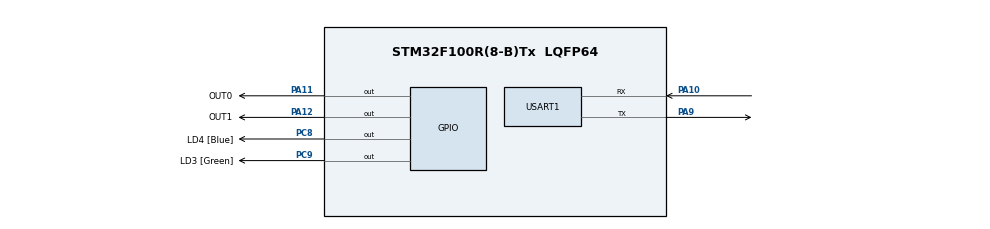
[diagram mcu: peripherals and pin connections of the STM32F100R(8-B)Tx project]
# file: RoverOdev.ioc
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Mcu.Family=STM32F1
Mcu.Name=STM32F100R(8-B)Tx
Mcu.Package=LQFP64
NVIC.PriorityGroup=NVIC_PRIORITYGROUP_4
PA0-WKUP.Mode=SYS_WakeUp0
PA0-WKUP.Signal=SYS_WKUP
PA10.Mode=Asynchronous
PA10.Signal=USART1_RX
PA11.GPIO_Label=OUT0
PA11.Signal=GPIO_Output
PA12.GPIO_Label=OUT1
PA12.Signal=GPIO_Output
PA13.GPIO_Label=TMS_SWDIO
PA13.Mode=Serial_Wire
PA13.Signal=SYS_JTMS-SWDIO
PA14.GPIO_Label=TCK_SWCLK
PA14.Mode=Serial_Wire
PA14.Signal=SYS_JTCK-SWCLK
PA9.Mode=Asynchronous
PA9.Signal=USART1_TX
PC14-OSC32_IN.Mode=LSE-External-Oscillator
PC14-OSC32_IN.Signal=RCC_OSC32_IN
PC15-OSC32_OUT.Mode=LSE-External-Oscillator
PC15-OSC32_OUT.Signal=RCC_OSC32_OUT
PC8.GPIO_Label=LD4 [Blue]
PC8.Signal=GPIO_Output
PC9.GPIO_Label=LD3 [Green]
PC9.Signal=GPIO_Output
PD0-OSC_IN.Mode=HSE-External-Oscillator
PD0-OSC_IN.Signal=RCC_OSC_IN
PD1-OSC_OUT.Mode=HSE-External-Oscillator
PD1-OSC_OUT.Signal=RCC_OSC_OUT
ProjectManager.HeapSize=0x200
ProjectManager.StackSize=0x400
ProjectManager.TargetToolchain=CMake
RCC.APB1Freq_Value=8000000
RCC.APB2Freq_Value=8000000
USART1.VirtualMode=VM_ASYNC
board=STM32VLDISCOVERY

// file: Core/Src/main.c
/* USER CODE BEGIN Header */
/**
  ******************************************************************************
  * @file           : main.c
  * @brief          : Main program body
  ******************************************************************************
  * @attention
  *
  * Copyright (c) 2025 STMicroelectronics.
  * All rights reserved.
  *
  * This software is licensed under terms that can be found in the LICENSE file
  * in the root directory of this software component.
  * If no LICENSE file comes with this software, it is provided AS-IS.
  *
  ******************************************************************************
  */
/* USER CODE END Header */
#include "main.h"

/* USER CODE BEGIN Includes */

#include <string.h>

/* USER CODE END Includes */

UART_HandleTypeDef huart1;

void SystemClock_Config(void);
static void MX_GPIO_Init(void);
static void MX_USART1_UART_Init(void);

int main(void)
{

  /* MCU Configuration--------------------------------------------------------*/

  /* Reset of all peripherals, Initializes the Flash interface and the Systick. */
  HAL_Init();

  /* Configure the system clock */
  SystemClock_Config();

  /* Initialize all configured peripherals */
  MX_GPIO_Init();
  MX_USART1_UART_Init();
  /* USER CODE BEGIN 2 */

  char message[] = "Emirlerinizi dinliyorum\n";
  HAL_UART_Transmit(&huart1, (uint8_t *)message, strlen(message), 10);

  /* USER CODE END 2 */

  /* Infinite loop */
  /* USER CODE BEGIN WHILE */
  char out0_reset[] = "out0 0\n";
  char out1_reset[] = "out1 0\n";
  char out0_set[] = "out0 1\n";
  char out1_set[] = "out1 1\n";
  char out0_toggle[] = "out0 2\n";
  char out1_toggle[] = "out1 2\n";

  while (1) {
    // İki karakter okuyalım
    uint8_t buffer[2];
    HAL_UART_Receive(&huart1, buffer, sizeof(buffer), HAL_MAX_DELAY);
    // Okuduğumuz karakterleri geri yazalım ki ekranda gözüksün.
    HAL_UART_Transmit(&huart1, buffer, sizeof(buffer), 10);

    // İlk karakteri okuyalım
    // Debug işlemlerini kolaylaştırmak için UART üzerinden yapılan işlemi
    // yazıyoruz.
    switch (buffer[0]) {
    case '0':
      HAL_UART_Transmit(&huart1, (uint8_t *) out0_reset, sizeof(out0_reset), 10);
      HAL_GPIO_WritePin(OUT0_GPIO_Port, OUT0_Pin, GPIO_PIN_RESET);
      break;
    case '1':
      HAL_UART_Transmit(&huart1, (uint8_t *) out0_set, sizeof(out0_set), 10);
      HAL_GPIO_WritePin(OUT0_GPIO_Port, OUT0_Pin, GPIO_PIN_SET);
      break;
    case '2':
      HAL_UART_Transmit(&huart1, (uint8_t *) out0_toggle, sizeof(out0_toggle), 10);
      HAL_GPIO_TogglePin(OUT0_GPIO_Port, OUT0_Pin);
      break;
    default:
      break;
    }

    // İkinci karakteri okuyalım
    switch (buffer[1]) {
    case '0':
      HAL_UART_Transmit(&huart1, (uint8_t *) out1_reset, sizeof(out1_reset), 10);
      HAL_GPIO_WritePin(OUT1_GPIO_Port, OUT1_Pin, GPIO_PIN_RESET);
      break;
    case '1':
      HAL_UART_Transmit(&huart1, (uint8_t *) out1_set, sizeof(out1_set), 10);
      HAL_GPIO_WritePin(OUT1_GPIO_Port, OUT1_Pin, GPIO_PIN_SET);
      break;
    case '2':
      HAL_UART_Transmit(&huart1, (uint8_t *) out1_toggle, sizeof(out1_toggle), 10);
      HAL_GPIO_TogglePin(OUT1_GPIO_Port, OUT1_Pin);
      break;
    default:
      break;
    }

    // Olur da HAL_UART_Receive 2 byte almazsa diye değerleri sıfırlayalım.
    buffer[0] = 0;
    buffer[1] = 0;

    /* USER CODE END WHILE */

  }
}

void SystemClock_Config(void)
{
  RCC_OscInitTypeDef RCC_OscInitStruct = {0};
  RCC_ClkInitTypeDef RCC_ClkInitStruct = {0};

  /** Initializes the RCC Oscillators according to the specified parameters
  * in the RCC_OscInitTypeDef structure.
  */
  RCC_OscInitStruct.OscillatorType = RCC_OSCILLATORTYPE_HSI;
  RCC_OscInitStruct.HSIState = RCC_HSI_ON;
  RCC_OscInitStruct.HSICalibrationValue = RCC_HSICALIBRATION_DEFAULT;
  RCC_OscInitStruct.PLL.PLLState = RCC_PLL_NONE;
  if (HAL_RCC_OscConfig(&RCC_OscInitStruct) != HAL_OK)
  {
    Error_Handler();
  }

  /** Initializes the CPU, AHB and APB buses clocks
  */
  RCC_ClkInitStruct.ClockType = RCC_CLOCKTYPE_HCLK|RCC_CLOCKTYPE_SYSCLK
                              |RCC_CLOCKTYPE_PCLK1|RCC_CLOCKTYPE_PCLK2;
  RCC_ClkInitStruct.SYSCLKSource = RCC_SYSCLKSOURCE_HSI;
  RCC_ClkInitStruct.AHBCLKDivider = RCC_SYSCLK_DIV1;
  RCC_ClkInitStruct.APB1CLKDivider = RCC_HCLK_DIV1;
  RCC_ClkInitStruct.APB2CLKDivider = RCC_HCLK_DIV1;

  if (HAL_RCC_ClockConfig(&RCC_ClkInitStruct, FLASH_LATENCY_0) != HAL_OK)
  {
    Error_Handler();
  }
}

static void MX_USART1_UART_Init(void)
{

  huart1.Instance = USART1;
  huart1.Init.BaudRate = 115200;
  huart1.Init.WordLength = UART_WORDLENGTH_8B;
  huart1.Init.StopBits = UART_STOPBITS_1;
  huart1.Init.Parity = UART_PARITY_NONE;
  huart1.Init.Mode = UART_MODE_TX_RX;
  huart1.Init.HwFlowCtl = UART_HWCONTROL_NONE;
  huart1.Init.OverSampling = UART_OVERSAMPLING_16;
  if (HAL_UART_Init(&huart1) != HAL_OK)
  {
    Error_Handler();
  }

}

static void MX_GPIO_Init(void)
{
  GPIO_InitTypeDef GPIO_InitStruct = {0};

  /* GPIO Ports Clock Enable */
  __HAL_RCC_GPIOC_CLK_ENABLE();
  __HAL_RCC_GPIOD_CLK_ENABLE();
  __HAL_RCC_GPIOA_CLK_ENABLE();

  /*Configure GPIO pin Output Level */
  HAL_GPIO_WritePin(GPIOC, LD4_Pin|LD3_Pin, GPIO_PIN_RESET);

  /*Configure GPIO pin Output Level */
  HAL_GPIO_WritePin(GPIOA, OUT0_Pin|OUT1_Pin, GPIO_PIN_RESET);

  /*Configure GPIO pins : LD4_Pin LD3_Pin */
  GPIO_InitStruct.Pin = LD4_Pin|LD3_Pin;
  GPIO_InitStruct.Mode = GPIO_MODE_OUTPUT_PP;
  GPIO_InitStruct.Pull = GPIO_NOPULL;
  GPIO_InitStruct.Speed = GPIO_SPEED_FREQ_LOW;
  HAL_GPIO_Init(GPIOC, &GPIO_InitStruct);

  /*Configure GPIO pins : OUT0_Pin OUT1_Pin */
  GPIO_InitStruct.Pin = OUT0_Pin|OUT1_Pin;
  GPIO_InitStruct.Mode = GPIO_MODE_OUTPUT_PP;
  GPIO_InitStruct.Pull = GPIO_NOPULL;
  GPIO_InitStruct.Speed = GPIO_SPEED_FREQ_LOW;
  HAL_GPIO_Init(GPIOA, &GPIO_InitStruct);

}

void Error_Handler(void)
{
  __disable_irq();
  while (1)
  {
  }
}
